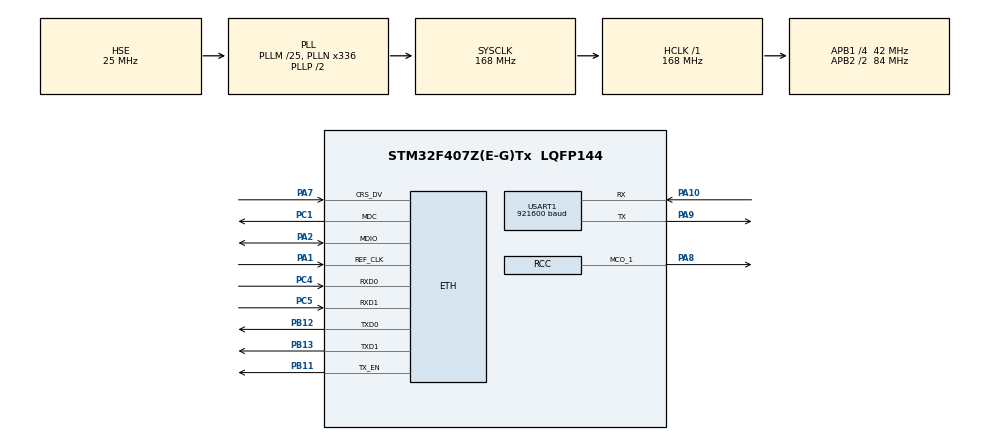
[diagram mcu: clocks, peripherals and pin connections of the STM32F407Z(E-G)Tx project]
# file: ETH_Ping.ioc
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ETH.MediaInterface=HAL_ETH_RMII_MODE
LWIP.BSP.number=1
LWIP.GATEWAY_ADDRESS=192.168.000.255
LWIP.IP_ADDRESS=192.168.000.200
LWIP.LWIP_DHCP=0
LWIP.NETMASK_ADDRESS=255.255.255.000
LWIP.Version=v2.1.2_Cube
LWIP0.BSP.STBoard=false
LWIP0.BSP.api=BSP_COMPONENT_DRIVER
LWIP0.BSP.component=DP83848
LWIP0.BSP.instance=DP83848
LWIP0.BSP.name=Driver_PHY
LWIP0.BSP.semaphore=S_DP83848
LWIP0.BSP.solution=DP83848
Mcu.Family=STM32F4
Mcu.Name=STM32F407Z(E-G)Tx
Mcu.Package=LQFP144
NVIC.PriorityGroup=NVIC_PRIORITYGROUP_4
PA1.Mode=RMII
PA1.Signal=ETH_REF_CLK
PA10.Mode=Asynchronous
PA10.Signal=USART1_RX
PA2.Mode=RMII
PA2.Signal=ETH_MDIO
PA7.Mode=RMII
PA7.Signal=ETH_CRS_DV
PA8.Mode=Clock-out-1
PA8.Signal=RCC_MCO_1
PA9.Mode=Asynchronous
PA9.Signal=USART1_TX
PB11.Mode=RMII
PB11.Signal=ETH_TX_EN
PB12.Mode=RMII
PB12.Signal=ETH_TXD0
PB13.Mode=RMII
PB13.Signal=ETH_TXD1
PC1.Mode=RMII
PC1.Signal=ETH_MDC
PC14-OSC32_IN.Mode=LSE-External-Oscillator
PC14-OSC32_IN.Signal=RCC_OSC32_IN
PC15-OSC32_OUT.Mode=LSE-External-Oscillator
PC15-OSC32_OUT.Signal=RCC_OSC32_OUT
PC4.Mode=RMII
PC4.Signal=ETH_RXD0
PC5.Mode=RMII
PC5.Signal=ETH_RXD1
PH0-OSC_IN.Mode=HSE-External-Clock-Source
PH0-OSC_IN.Signal=RCC_OSC_IN
PH1-OSC_OUT.Mode=HSE-External-Clock-Source
PH1-OSC_OUT.Signal=RCC_OSC_OUT
ProjectManager.HeapSize=0x200
ProjectManager.StackSize=0x400
ProjectManager.TargetToolchain=EWARM V8.50
RCC.48MHZClocksFreq_Value=84000000
RCC.AHBFreq_Value=168000000
RCC.APB1CLKDivider=RCC_HCLK_DIV4
RCC.APB1Freq_Value=42000000
RCC.APB1TimFreq_Value=84000000
RCC.APB2CLKDivider=RCC_HCLK_DIV2
RCC.APB2Freq_Value=84000000
RCC.APB2TimFreq_Value=168000000
RCC.CortexFreq_Value=168000000
RCC.HCLKFreq_Value=168000000
RCC.HSE_VALUE=25000000
RCC.HSI_VALUE=16000000
RCC.PLLM=25
RCC.PLLN=336
RCC.PLLSourceVirtual=RCC_PLLSOURCE_HSE
RCC.SYSCLKFreq_VALUE=168000000
RCC.SYSCLKSource=RCC_SYSCLKSOURCE_PLLCLK
RCC.VCOOutputFreq_Value=336000000
USART1.BaudRate=921600
USART1.VirtualMode=VM_ASYNC
VP_LWIP_VS_Enabled.Mode=Enabled
board=custom

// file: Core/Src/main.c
/* USER CODE BEGIN Header */
/**
  ******************************************************************************
  * @file           : main.c
  * @brief          : Main program body
  ******************************************************************************
  * @attention
  *
  * Copyright (c) 2024 STMicroelectronics.
  * All rights reserved.
  *
  * This software is licensed under terms that can be found in the LICENSE file
  * in the root directory of this software component.
  * If no LICENSE file comes with this software, it is provided AS-IS.
  *
  ******************************************************************************
  */
/* USER CODE END Header */
#include "main.h"
#include "lwip.h"

UART_HandleTypeDef huart1;

/* USER CODE BEGIN PV */
UART_HandleTypeDef		USART1_Handle;
/* USER CODE END PV */

void SystemClock_Config(void);
static void MX_GPIO_Init(void);
static void MX_USART1_UART_Init(void);

/* USER CODE BEGIN 0 */
int fputc(int ch, FILE *f)
{
    /* Place your implementation of fputc here */
    /* e.g. write a character to the EVAL_COM1 and Loop until the end of transmission */
    if( ch == '\n' ){
            ch = '\r';
    HAL_UART_Transmit( &huart1, (uint8_t *)&ch, 1, 0xFFFF );
    ch = '\n';
    }

    HAL_UART_Transmit( &huart1, (uint8_t *)&ch, 1, 0xFFFF );

    return ch;
}
/* USER CODE END 0 */

int main(void)
{

  /* MCU Configuration--------------------------------------------------------*/

  /* Reset of all peripherals, Initializes the Flash interface and the Systick. */
  HAL_Init();

  /* Configure the system clock */
  SystemClock_Config();

  /* Initialize all configured peripherals */
  MX_GPIO_Init();
  MX_USART1_UART_Init();
  MX_LWIP_Init();
  /* USER CODE BEGIN 2 */
  printf("******************************\r\n\r\n");
  printf( "-- ETHERNET Init & Ping -- \r\n" );
  /* USER CODE END 2 */

  /* Infinite loop */
  /* USER CODE BEGIN WHILE */
  while (1)
  {
    MX_LWIP_Process();
    HAL_GPIO_TogglePin(GPIOG, GPIO_PIN_13 | GPIO_PIN_12);
    HAL_Delay(100);

    //HAL_UART_Transmit( &huart1, "test\n", 6, 0xFFFF );
    /* USER CODE END WHILE */

  }
}

void SystemClock_Config(void)
{
  RCC_OscInitTypeDef RCC_OscInitStruct = {0};
  RCC_ClkInitTypeDef RCC_ClkInitStruct = {0};

  /** Configure the main internal regulator output voltage
  */
  __HAL_RCC_PWR_CLK_ENABLE();
  __HAL_PWR_VOLTAGESCALING_CONFIG(PWR_REGULATOR_VOLTAGE_SCALE1);

  /** Initializes the RCC Oscillators according to the specified parameters
  * in the RCC_OscInitTypeDef structure.
  */
  //RCC_OscInitStruct.OscillatorType = RCC_OSCILLATORTYPE_HSI|RCC_OSCILLATORTYPE_HSE;
  RCC_OscInitStruct.OscillatorType	= RCC_OSCILLATORTYPE_HSE;
  RCC_OscInitStruct.HSEState = RCC_HSE_BYPASS;
  RCC_OscInitStruct.LSIState			= RCC_LSI_ON;
  //RCC_OscInitStruct.HSIState = RCC_HSI_ON;
  RCC_OscInitStruct.HSICalibrationValue = RCC_HSICALIBRATION_DEFAULT;
  RCC_OscInitStruct.PLL.PLLState = RCC_PLL_ON;
  RCC_OscInitStruct.PLL.PLLSource = RCC_PLLSOURCE_HSE;
  RCC_OscInitStruct.PLL.PLLM = 25;
  RCC_OscInitStruct.PLL.PLLN = 336;
  RCC_OscInitStruct.PLL.PLLP = RCC_PLLP_DIV2;
  RCC_OscInitStruct.PLL.PLLQ = 7;//4;
  if (HAL_RCC_OscConfig(&RCC_OscInitStruct) != HAL_OK)
  {
    Error_Handler();
  }

  /** Initializes the CPU, AHB and APB buses clocks
  */
  RCC_ClkInitStruct.ClockType = RCC_CLOCKTYPE_HCLK|RCC_CLOCKTYPE_SYSCLK
                              |RCC_CLOCKTYPE_PCLK1|RCC_CLOCKTYPE_PCLK2;
  RCC_ClkInitStruct.SYSCLKSource = RCC_SYSCLKSOURCE_PLLCLK;
  RCC_ClkInitStruct.AHBCLKDivider = RCC_SYSCLK_DIV1;
  RCC_ClkInitStruct.APB1CLKDivider = RCC_HCLK_DIV4;
  RCC_ClkInitStruct.APB2CLKDivider = RCC_HCLK_DIV2;

  if (HAL_RCC_ClockConfig(&RCC_ClkInitStruct, FLASH_LATENCY_5) != HAL_OK)
  {
    Error_Handler();
  }
  HAL_RCC_MCOConfig(RCC_MCO1, RCC_MCO1SOURCE_HSI, RCC_MCODIV_1);
}

static void MX_USART1_UART_Init(void)
{

  huart1.Instance = USART1;
  huart1.Init.BaudRate = 921600;
  huart1.Init.WordLength = UART_WORDLENGTH_8B;
  huart1.Init.StopBits = UART_STOPBITS_1;
  huart1.Init.Parity = UART_PARITY_NONE;
  huart1.Init.Mode = UART_MODE_TX_RX;
  huart1.Init.HwFlowCtl = UART_HWCONTROL_NONE;
  huart1.Init.OverSampling = UART_OVERSAMPLING_16;
  if (HAL_UART_Init(&huart1) != HAL_OK)
  {
    Error_Handler();
  }

}

static void MX_GPIO_Init(void)
{
  GPIO_InitTypeDef GPIO_InitStruct = {0};

  /* GPIO Ports Clock Enable */
  __HAL_RCC_GPIOC_CLK_ENABLE();
  __HAL_RCC_GPIOH_CLK_ENABLE();
  __HAL_RCC_GPIOA_CLK_ENABLE();
  __HAL_RCC_GPIOB_CLK_ENABLE();

  /*Configure GPIO pin : PA8 */
  GPIO_InitStruct.Pin = GPIO_PIN_8;
  GPIO_InitStruct.Mode = GPIO_MODE_AF_PP;
  GPIO_InitStruct.Pull = GPIO_NOPULL;
  GPIO_InitStruct.Speed = GPIO_SPEED_FREQ_LOW;
  GPIO_InitStruct.Alternate = GPIO_AF0_MCO;
  HAL_GPIO_Init(GPIOA, &GPIO_InitStruct);

/* USER CODE BEGIN MX_GPIO_Init_2 */
  __HAL_RCC_GPIOG_CLK_ENABLE();
  /*Configure GPIO pins : PG12 PG13 */
  GPIO_InitStruct.Pin = GPIO_PIN_12|GPIO_PIN_13;
  GPIO_InitStruct.Mode = GPIO_MODE_OUTPUT_PP;
  GPIO_InitStruct.Pull = GPIO_NOPULL;
  GPIO_InitStruct.Speed = GPIO_SPEED_FREQ_LOW;
  HAL_GPIO_Init(GPIOG, &GPIO_InitStruct);
/* USER CODE END MX_GPIO_Init_2 */
}

void Error_Handler(void)
{
  __disable_irq();
  while (1)
  {
  }
}
